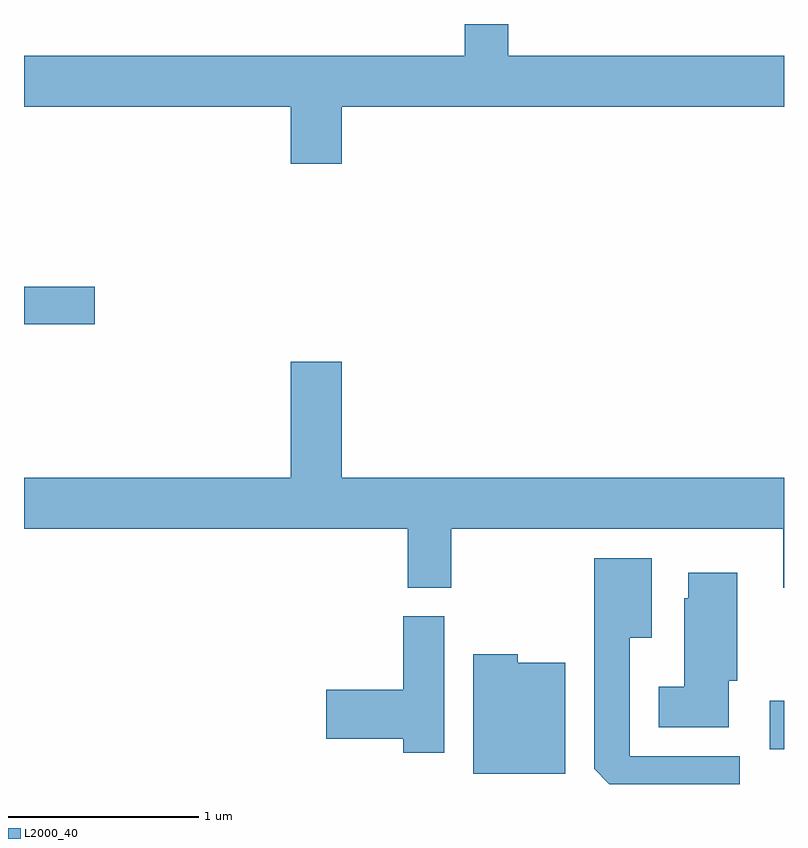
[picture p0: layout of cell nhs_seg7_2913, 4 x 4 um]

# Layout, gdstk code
import gdstk
lib = gdstk.Library(unit=1e-6, precision=1e-09)
def R(c, l, rs):  # rectangles x0, y0, x1, y1
    for r in rs: c.add(gdstk.rectangle(r[:2], r[2:], *l))
def P(c, l, *ps):  # polygons
    for p in ps: c.add(gdstk.Polygon(p, *l))
L2000_40 = (2000, 40)

nhs_seg7_2913 = lib.new_cell('nhs_seg7_2913')
R(nhs_seg7_2913, L2000_40, [(277.536,1766.436,277.611,1766.689), (273.611,1768.671,273.984,1768.869)])
P(nhs_seg7_2913, L2000_40, [(275.284,1769.816),(277.611,1769.816),(277.611,1770.084),(276.159,1770.084),(276.159,1770.252),(275.931,1770.252),(275.931,1770.084),(273.611,1770.084),(273.611,1769.816),(275.016,1769.816),(275.016,1769.516),(275.284,1769.516)],
  [(275.859,1767.596),(277.606,1767.596),(277.606,1767.286),(277.611,1767.286),(277.611,1767.864),(275.284,1767.864),(275.284,1768.474),(275.016,1768.474),(275.016,1767.864),(273.611,1767.864),(273.611,1767.596),(275.631,1767.596),(275.631,1767.286),(275.859,1767.286)],
  [(277.379,1766.399),(276.799,1766.399),(276.799,1767.021),(276.914,1767.021),(276.914,1767.439),(276.611,1767.439),(276.611,1766.332),(276.691,1766.252),(277.379,1766.252)],
  [(277.319,1766.796),(277.364,1766.796),(277.364,1767.364),(277.106,1767.364),(277.106,1767.229),(277.086,1767.229),(277.086,1766.764),(276.951,1766.764),(276.951,1766.551),(277.319,1766.551)],
  [(275.824,1767.134),(275.606,1767.134),(275.606,1766.749),(275.201,1766.749),(275.201,1766.491),(275.606,1766.491),(275.606,1766.416),(275.824,1766.416)],
  [(276.459,1766.889),(276.209,1766.889),(276.209,1766.934),(275.976,1766.934),(275.976,1766.306),(276.459,1766.306)])

lib.write_gds('nhs_seg7_2913.gds')
